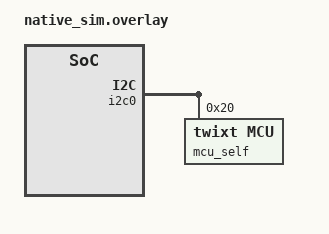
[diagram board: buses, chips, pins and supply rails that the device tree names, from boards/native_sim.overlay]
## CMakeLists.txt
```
# Copyright (c) 2026 Christoph Jans <jans.christoph@gmail.com>
# SPDX-License-Identifier: Apache-2.0

cmake_minimum_required(VERSION 3.20.0)

find_package(Zephyr REQUIRED HINTS $ENV{ZEPHYR_BASE})
project(twixt_smp_gateway_test)

target_sources(app PRIVATE src/main.c)
```

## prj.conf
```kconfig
# Copyright (c) 2026 Christoph Jans <jans.christoph@gmail.com>
# SPDX-License-Identifier: Apache-2.0

CONFIG_ZTEST=y
CONFIG_I2C=y
CONFIG_ZTEST_STACK_SIZE=2048

CONFIG_MCUMGR=y
CONFIG_NET_BUF=y
CONFIG_ZCBOR=y
CONFIG_TWIXT_SMP=y
```

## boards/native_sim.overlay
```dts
/*
 * Copyright (c) 2026 Christoph Jans <jans.christoph@gmail.com>
 *
 * SPDX-License-Identifier: Apache-2.0
 */

/* One MCU alone on the bus: the gateway under test only talks to its fakes. */

/ {
	chosen {
		twixt,self = &mcu_self;
	};
};

&i2c0 {
	compatible = "twixt,i2c-mm-native";
	bus-id = <43>;
	loopback;

	mcu_self: mcu@20 {
		compatible = "twixt,mcu";
		reg = <0x20>;
	};
};
```

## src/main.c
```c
/*
 * Copyright (c) 2026 Christoph Jans <jans.christoph@gmail.com>
 *
 * SPDX-License-Identifier: Apache-2.0
 *
 * The core of the MCUmgr gateway, with the MCUmgr service replaced by fakes that fail, stay silent
 * or answer late on demand. Its front ends need a tool and a port or a radio: tests/smp_update.
 */

#include <string.h>
#include <zephyr/ztest.h>

/* The options of a gateway, which is not in the devicetree here */
#define CONFIG_TWIXT_SMP_GATEWAY_RSP_TIMEOUT_MS 100
#define CONFIG_TWIXT_SMP_GATEWAY_STACK_SIZE     1024
#define CONFIG_TWIXT_SMP_GATEWAY_PRIORITY       5

#define twixt_smp_send    fake_send
#define twixt_smp_rsp_get fake_rsp_get

#include "../../../subsys/twixt/client/smp_gateway.c"

#define PEER     0x11
#define SEQ      7
#define OTHER_ID 2
#define QUEUE    3

static int sends;
static int fails_left;
static struct net_buf *before_send[QUEUE];
static struct net_buf *after_send[QUEUE];
static uint8_t after_src[QUEUE];
static uint8_t out[64];
static size_t out_len;
static int responses;

static struct net_buf *pop(struct net_buf **queue, uint8_t *src_out, uint8_t *srcs)
{
	for (int i = 0; i < QUEUE; i++) {
		if (queue[i] != NULL) {
			struct net_buf *nb = queue[i];

			queue[i] = NULL;
			if (src_out != NULL && srcs != NULL) {
				*src_out = srcs[i];
			}
			return nb;
		}
	}
	return NULL;
}

int fake_send(uint8_t addr, const uint8_t *pkt, size_t len)
{
	sends++;
	zassert_equal(addr, PEER);
	if (fails_left > 0) {
		fails_left--;
		return -EIO;
	}
	return 0;
}

struct net_buf *fake_rsp_get(uint8_t *src, k_timeout_t timeout)
{
	struct net_buf *nb = pop(before_send, src, NULL);

	if (nb != NULL) {
		return nb;
	}
	if (sends > 0 && (nb = pop(after_send, src, after_src)) != NULL) {
		return nb;
	}
	if (!K_TIMEOUT_EQ(timeout, K_NO_WAIT)) {
		k_sleep(timeout);
	}
	return NULL;
}

static void respond(const uint8_t *pkt, size_t len, void *ctx)
{
	zassert_true(len <= sizeof(out));
	memcpy(out, pkt, len);
	out_len = len;
	responses++;
	zassert_equal(ctx, &responses);
}

static struct net_buf *packet(uint8_t op, uint16_t group, uint8_t id, uint8_t seq, uint8_t mark)
{
	struct net_buf *nb = smp_packet_alloc();
	uint8_t pkt[SMP_HDR_LEN + 1] = {0};

	zassert_not_null(nb);
	pkt[0] = (1 << 3) | op;
	sys_put_be16(1, &pkt[2]);
	sys_put_be16(group, &pkt[4]);
	pkt[6] = seq;
	pkt[7] = id;
	pkt[SMP_HDR_LEN] = mark;
	net_buf_add_mem(nb, pkt, sizeof(pkt));
	return nb;
}

static struct net_buf *upload(void)
{
	return packet(MGMT_OP_WRITE, MGMT_GROUP_ID_IMAGE, UPLOAD_ID, SEQ, 0);
}

static struct net_buf *other_request(void)
{
	return packet(MGMT_OP_WRITE, MGMT_GROUP_ID_IMAGE, OTHER_ID, SEQ, 0);
}

static struct net_buf *answer(uint8_t seq, uint8_t mark)
{
	return packet(MGMT_OP_WRITE_RSP, MGMT_GROUP_ID_IMAGE, UPLOAD_ID, seq, mark);
}

static void forward(struct net_buf *req)
{
	smp_gateway_forward(PEER, req, respond, &responses);
}

static void assert_error(int rc)
{
	zassert_equal(responses, 1);
	zassert_equal(out_len, SMP_HDR_LEN + 5);
	zassert_equal(out[0], (1 << 3) | MGMT_OP_WRITE_RSP, "the op of a response");
	zassert_equal(sys_get_be16(&out[2]), 5, "the length of the body");
	zassert_equal(out[6], SEQ, "the sequence number of the request");
	zassert_equal(out[SMP_HDR_LEN], 0xa1, "a map of one");
	zassert_mem_equal(&out[SMP_HDR_LEN + 2], "rc", 2);
	zassert_equal(out[SMP_HDR_LEN + 4], rc);
}

static void reset(void *fixture)
{
	struct net_buf *nb;

	sends = 0;
	fails_left = 0;
	out_len = 0;
	responses = 0;
	while ((nb = pop(before_send, NULL, NULL)) != NULL) {
		smp_packet_free(nb);
	}
	while ((nb = pop(after_send, NULL, NULL)) != NULL) {
		smp_packet_free(nb);
	}
}

ZTEST(smp_gateway, test_response_passes_through)
{
	after_send[0] = answer(SEQ, 0x55);
	after_src[0] = PEER;
	forward(upload());

	zassert_equal(sends, 1);
	zassert_equal(responses, 1);
	zassert_equal(out_len, SMP_HDR_LEN + 1);
	zassert_equal(out[SMP_HDR_LEN], 0x55);
}

ZTEST(smp_gateway, test_upload_is_sent_again)
{
	fails_left = 2;
	after_send[0] = answer(SEQ, 0x55);
	after_src[0] = PEER;
	forward(upload());

	zassert_equal(sends, 3);
	zassert_equal(responses, 1);
	zassert_equal(out[SMP_HDR_LEN], 0x55);
}

ZTEST(smp_gateway, test_upload_gives_up)
{
	fails_left = UPLOAD_TRIES;
	forward(upload());

	zassert_equal(sends, UPLOAD_TRIES);
	assert_error(MGMT_ERR_EUNKNOWN);
}

ZTEST(smp_gateway, test_other_request_goes_once)
{
	fails_left = 1;
	forward(other_request());

	zassert_equal(sends, 1);
	assert_error(MGMT_ERR_EUNKNOWN);
}

ZTEST(smp_gateway, test_read_of_image_group_goes_once)
{
	fails_left = 1;
	forward(packet(MGMT_OP_READ, MGMT_GROUP_ID_IMAGE, UPLOAD_ID, SEQ, 0));

	zassert_equal(sends, 1);
}

ZTEST(smp_gateway, test_upload_of_other_group_goes_once)
{
	fails_left = 1;
	forward(packet(MGMT_OP_WRITE, MGMT_GROUP_ID_OS, UPLOAD_ID, SEQ, 0));

	zassert_equal(sends, 1);
}

ZTEST(smp_gateway, test_no_response)
{
	int64_t start = k_uptime_get();

	forward(upload());

	assert_error(MGMT_ERR_ETIMEOUT);
	zassert_true(k_uptime_get() - start >= CONFIG_TWIXT_SMP_GATEWAY_RSP_TIMEOUT_MS);
}

ZTEST(smp_gateway, test_other_sequence_number_is_ignored)
{
	after_send[0] = answer(SEQ - 1, 0x11);
	after_src[0] = PEER;
	after_send[1] = answer(SEQ, 0x55);
	after_src[1] = PEER;
	forward(upload());

	zassert_equal(responses, 1);
	zassert_equal(out[SMP_HDR_LEN], 0x55);
}

ZTEST(smp_gateway, test_other_source_is_ignored)
{
	after_send[0] = answer(SEQ, 0x11);
	after_src[0] = PEER + 1;
	after_send[1] = answer(SEQ, 0x55);
	after_src[1] = PEER;
	forward(upload());

	zassert_equal(responses, 1);
	zassert_equal(out[SMP_HDR_LEN], 0x55);
}

/* What waits from before the request is not its answer, even with its sequence number */
ZTEST(smp_gateway, test_old_responses_are_dropped)
{
	before_send[0] = answer(SEQ, 0x11);
	after_send[0] = answer(SEQ, 0x55);
	after_src[0] = PEER;
	forward(upload());

	zassert_equal(responses, 1);
	zassert_equal(out[SMP_HDR_LEN], 0x55);
}

ZTEST(smp_gateway, test_packets_are_freed)
{
	for (int i = 0; i < 2 * CONFIG_MCUMGR_TRANSPORT_NETBUF_COUNT; i++) {
		responses = 0;
		sends = 0;
		after_send[0] = answer(SEQ, 0x55);
		after_src[0] = PEER;
		forward(upload());
		zassert_equal(responses, 1, "round %d", i);
	}
}

static atomic_t starts;
static K_SEM_DEFINE(served, 0, 1);

static void frontend_start(void)
{
	atomic_inc(&starts);
}

static void frontend_serve(void)
{
	k_sem_give(&served);
}

SMP_GATEWAY_FRONTEND_DEFINE(test_frontend, frontend_start, frontend_serve);

ZTEST(smp_gateway, test_frontend_runs_on_the_thread)
{
	/* The gateway's thread runs once this one lets it */
	zassert_true(WAIT_FOR(atomic_get(&starts) == 1, USEC_PER_SEC, k_msleep(1)));
	k_sem_reset(&served);
	smp_gateway_wake();
	zassert_ok(k_sem_take(&served, K_SECONDS(1)));
}

ZTEST_SUITE(smp_gateway, NULL, NULL, reset, NULL, NULL);
```
